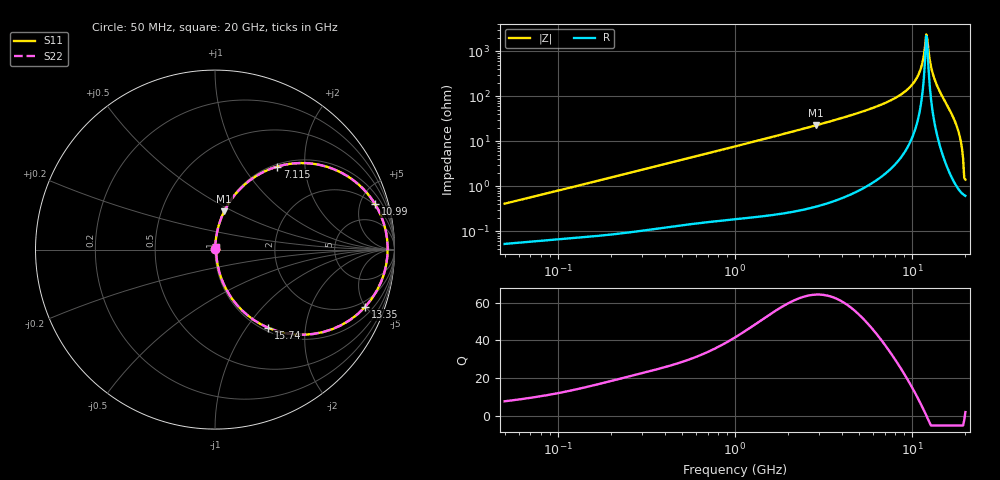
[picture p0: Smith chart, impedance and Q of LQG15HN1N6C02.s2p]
!Murata Part Number: LQG15HN1N6C02
!These Parameters are Measured in Series Mode Connection
!  o--[Z]--o
!Port1  Port2
!  o-------o
!Freq. Start=50[MHz] Stop=20[GHz], 401[Steps]
# Hz S RI R 50
!Freq.(Hz) S11(Real) S11(Imag) S21(Real) S21(Imag) S12(Real) S12(Imag) S22(Real) S22(Imag)
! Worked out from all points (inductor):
!   401 points, 50 MHz to 20 GHz, reference 50 ohm
!   read as one part in series: L = 1.29 nH near 51.52 MHz
!   highest Q = 64.2 at 2.853 GHz (marker M1), where L = 1.26 nH
!   self-resonance near 12.02 GHz
!   S11 on the Smith chart (normalised r, x): 50 MHz: 1.00, +0.01; 7.115 GHz: 1.04, +1.45; 10.99 GHz: 1.84, +6.64; 13.35 GHz: 1.54, -4.97; 15.74 GHz: 1.05, -1.28; 20 GHz: 1.01, +0.03
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5e7  0.000541 0.00407  0.9995 -0.00407  0.9995 -0.00407  0.000541 0.00407
1.364002e8  0.000849 0.0108  0.9992 -0.0108  0.9992 -0.0108  0.000849 0.0108
3.721004e8  0.00199 0.0289  0.998 -0.0289  0.998 -0.0289  0.00199 0.0289
1e9  0.00769 0.0761  0.9923 -0.0761  0.9923 -0.0761  0.00769 0.0761
2.728004e9  0.047 0.204  0.953 -0.204  0.953 -0.204  0.047 0.204
2.853386e9  0.0513 0.213  0.9487 -0.213  0.9487 -0.213  0.0513 0.213
4.89267e9  0.1535 0.3514  0.8465 -0.3514  0.8465 -0.3514  0.1535 0.3514
7.114996e9  0.3472 0.4627  0.6528 -0.4627  0.6528 -0.4627  0.3472 0.4627
7.442007e9  0.3845 0.4721  0.6155 -0.4721  0.6155 -0.4721  0.3845 0.4721
9.600142e9  0.6885 0.4362  0.3115 -0.4362  0.3115 -0.4362  0.6885 0.4362
1.098561e10  0.8911 0.2547  0.1089 -0.2547  0.1089 -0.2547  0.8911 0.2547
1.183995e10  0.9587 0.061  0.0413 -0.061  0.0413 -0.061  0.9587 0.061
1.201863e10  0.962 0.0147  0.038 -0.0147  0.038 -0.0147  0.962 0.0147
1.238412e10  0.9543 -0.0827  0.0457 0.0827  0.0457 0.0827  0.9543 -0.0827
1.276073e10  0.9246 -0.1819  0.0754 0.1819  0.0754 0.1819  0.9246 -0.1819
1.334722e10  0.8366 -0.3191  0.1634 0.3191  0.1634 0.3191  0.8366 -0.3191
1.438523e10  0.6 -0.46  0.4 0.46  0.4 0.46  0.6 -0.46
1.573793e10  0.2972 -0.4361  0.7028 0.4361  0.7028 0.4361  0.2972 -0.4361
1.721783e10  0.0997 -0.2802  0.9003 0.2802  0.9003 0.2802  0.0997 -0.2802
1.828096e10  0.0342 -0.1575  0.9658 0.1575  0.9658 0.1575  0.0342 -0.1575
1.88369e10  0.0171 -0.0979  0.9829 0.0979  0.9829 0.0979  0.0171 -0.0979
2e10  0.00627 0.0125  0.9937 -0.0125  0.9937 -0.0125  0.00627 0.0125
